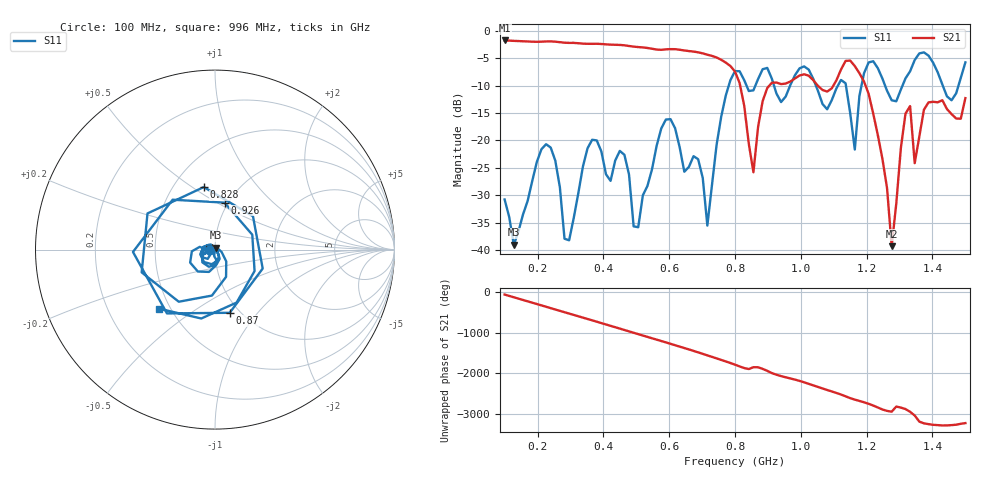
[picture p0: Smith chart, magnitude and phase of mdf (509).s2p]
! NanoVNA-App
! Date: 2025-09-25 15:42:23
! Start: 100MHz Stop: 1,5GHz Points: 101
! S-Parameter data: F S11 S21 S12 S22
# Hz S RI R 50
!  Frequency  S11_Real  S11_Imag  S21_Real  S21_Imag  S12_Real  S12_Imag  S22_Real  S22_Imag
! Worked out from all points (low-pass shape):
!   101 points, 100 MHz to 1.5 GHz, reference 50 ohm
!   highest |S21| = -1.80 dB at 100 MHz (marker M1); lowest = -39.2 dB at 1.276 GHz (marker M2)
!   |S21| within 3 dB of the highest: start of sweep to 739.2 MHz
!   lowest |S11| = -39.0 dB at 128 MHz (marker M3), VSWR 1.02, Z = 50.3 + j1.08 ohm
!   |S11| at or under -10 dB: start of sweep to 781.1 MHz; 1.046 GHz to 1.113 GHz (67.14 MHz wide, 6.22 % of centre); 1.256 GHz to 1.309 GHz (53.13 MHz wide, 4.14 % of centre) (the widest 3 of 7)
!   S12 and S22 are empty: the file has one direction only
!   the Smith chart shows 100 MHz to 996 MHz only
!   S11 on the Smith chart (normalised r, x): 100 MHz: 0.94, -0.01; 828 MHz: 0.70, +0.56; 870 MHz: 0.90, -0.73; 926 MHz: 0.96, +0.54; 996 MHz: 0.44, -0.36
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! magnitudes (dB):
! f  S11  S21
! 100 MHz  -30.7  -1.8
! 128 MHz  -39.0  -1.9
! 212 MHz  -21.6  -2.0
! 282 MHz  -37.9  -2.2
! 338 MHz  -24.7  -2.4
! 464 MHz  -22.6  -2.7
! 506 MHz  -35.8  -3.0
! 576 MHz  -17.8  -3.5
! 716 MHz  -35.5  -4.4
! 800 MHz  -7.4  -7.5
! 828 MHz  -9.0  -13.7
! 856 MHz  -10.9  -25.8
! 870 MHz  -8.8  -17.6
! 926 MHz  -11.5  -9.5
! 996 MHz  -6.9  -8.2
! 1.038 GHz  -8.8  -9.0
! 1.164 GHz  -21.7  -6.5
! 1.192 GHz  -7.8  -9.3
! 1.276 GHz  -12.7  -39.2
! 1.318 GHz  -8.7  -15.1
! 1.346 GHz  -5.4  -24.1
! 1.5 GHz  -5.8  -12.3
